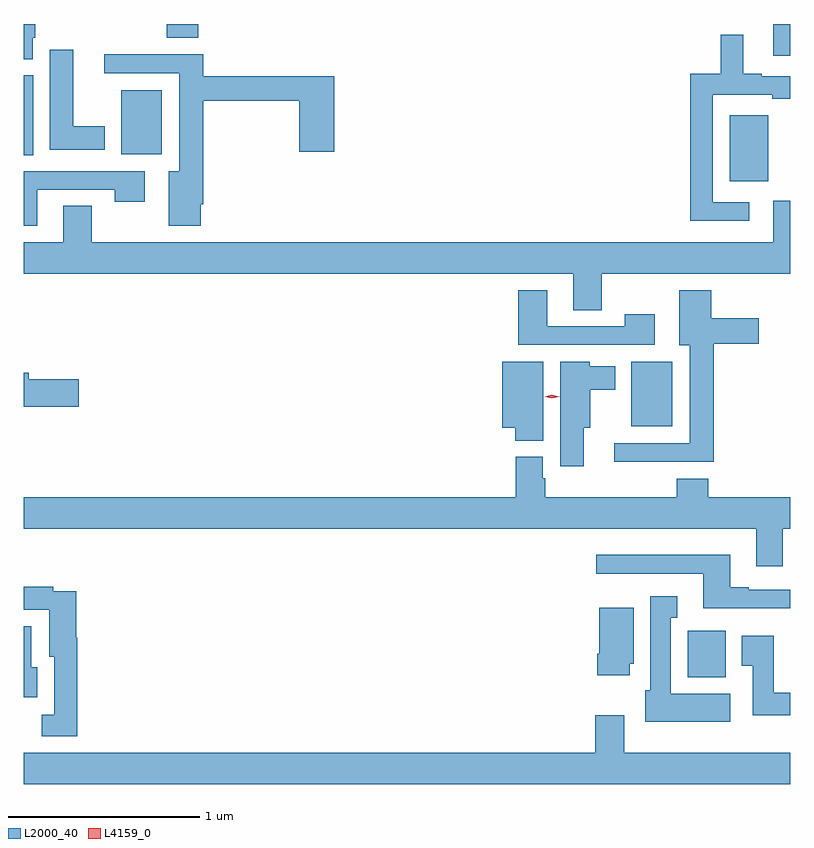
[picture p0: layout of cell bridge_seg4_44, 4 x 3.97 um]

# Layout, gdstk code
import gdstk
lib = gdstk.Library(unit=1e-6, precision=1e-09)
def R(c, l, rs):  # rectangles x0, y0, x1, y1
    for r in rs: c.add(gdstk.rectangle(r[:2], r[2:], *l))
def P(c, l, *ps):  # polygons
    for p in ps: c.add(gdstk.Polygon(p, *l))
L2000_40 = (2000, 40)
L4159_0 = (4159, 0)

bridge_seg4_44 = lib.new_cell('bridge_seg4_44')
R(bridge_seg4_44, L2000_40, [(677.738,761.414,677.935,761.656), (677.444,762.725,677.656,763.06), (677.957,764.003,678.157,764.347), (674.272,764.14,674.32,764.556), (674.78,764.144,674.992,764.479), (678.185,764.658,678.272,764.824), (675.017,764.753,675.182,764.824)])
P(bridge_seg4_44, L2000_40, [(674.317,764.751),(674.33,764.751),(674.33,764.824),(674.272,764.824),(674.272,764.641),(674.317,764.641)],
  [(678.058,763.893),(677.868,763.893),(677.868,764.454),(678.179,764.454),(678.179,764.434),(678.272,764.434),(678.272,764.55),(678.124,764.55),(678.124,764.563),(678.028,764.563),(678.028,764.767),(677.911,764.767),(677.911,764.563),(677.752,764.563),(677.752,763.797),(678.058,763.797)],
  [(674.695,764.29),(674.53,764.29),(674.53,764.689),(674.408,764.689),(674.408,764.168),(674.695,764.168)],
  [(675.196,763.882),(675.209,763.882),(675.209,764.422),(675.71,764.422),(675.71,764.157),(675.893,764.157),(675.893,764.551),(675.209,764.551),(675.209,764.666),(674.691,764.666),(674.691,764.568),(675.083,764.568),(675.083,764.056),(675.029,764.056),(675.029,763.77),(675.196,763.77)],
  [(674.341,763.959),(674.746,763.959),(674.746,763.896),(674.902,763.896),(674.902,764.055),(674.272,764.055),(674.272,763.77),(674.341,763.77)],
  [(677.289,763.52),(678.272,763.52),(678.272,763.9),(678.185,763.9),(678.185,763.684),(674.625,763.684),(674.625,763.874),(674.477,763.874),(674.477,763.684),(674.272,763.684),(674.272,763.52),(677.141,763.52),(677.141,763.33),(677.289,763.33)],
  [(677.566,763.309),(677.41,763.309),(677.41,763.245),(677.005,763.245),(677.005,763.435),(676.853,763.435),(676.853,763.149),(677.566,763.149)],
  [(677.873,763.154),(678.109,763.154),(678.109,763.288),(677.86,763.288),(677.86,763.435),(677.693,763.435),(677.693,763.148),(677.747,763.148),(677.747,762.636),(677.355,762.636),(677.355,762.539),(677.873,762.539)],
  [(676.984,763.06),(676.769,763.06),(676.769,762.716),(676.838,762.716),(676.838,762.649),(676.984,762.649)],
  [(677.194,762.716),(677.23,762.716),(677.23,762.914),(677.359,762.914),(677.359,763.036),(677.226,763.036),(677.226,763.06),(677.072,763.06),(677.072,762.516),(677.194,762.516)],
  [(674.557,762.968),(674.296,762.968),(674.296,763.004),(674.272,763.004),(674.272,762.826),(674.557,762.826)],
  [(678.235,762.188),(678.272,762.188),(678.272,762.352),(677.846,762.352),(677.846,762.451),(677.681,762.451),(677.681,762.352),(676.994,762.352),(676.994,762.453),(676.981,762.453),(676.981,762.564),(676.841,762.564),(676.841,762.352),(674.272,762.352),(674.272,762.188),(678.095,762.188),(678.095,761.994),(678.235,761.994)],
  [(678.272,761.871),(678.055,761.871),(678.055,761.884),(677.959,761.884),(677.959,762.052),(677.259,762.052),(677.259,761.955),(677.819,761.955),(677.819,761.774),(678.272,761.774)],
  [(674.551,761.62),(674.546,761.62),(674.546,761.862),(674.426,761.862),(674.426,761.887),(674.272,761.887),(674.272,761.766),(674.405,761.766),(674.405,761.52),(674.429,761.52),(674.429,761.218),(674.364,761.218),(674.364,761.105),(674.551,761.105)],
  [(677.959,761.326),(677.65,761.326),(677.65,761.723),(677.683,761.723),(677.683,761.836),(677.543,761.836),(677.543,761.346),(677.516,761.346),(677.516,761.18),(677.959,761.18)],
  [(677.434,761.484),(677.455,761.484),(677.455,761.776),(677.276,761.776),(677.276,761.536),(677.264,761.536),(677.264,761.424),(677.434,761.424)],
  [(674.341,761.466),(674.311,761.466),(674.311,761.68),(674.272,761.68),(674.272,761.31),(674.341,761.31)],
  [(678.272,761.332),(678.187,761.332),(678.187,761.629),(678.02,761.629),(678.02,761.473),(678.077,761.473),(678.077,761.214),(678.272,761.214)],
  [(678.272,761.02),(677.407,761.02),(677.407,761.215),(677.255,761.215),(677.255,761.02),(674.272,761.02),(674.272,760.856),(678.272,760.856)])
P(bridge_seg4_44, L4159_0, [(677.029,762.869),(676.991,762.879),(676.991,762.879),(676.991,762.879),(677.029,762.889),(677.067,762.879),(677.067,762.879),(677.067,762.879)])

lib.write_gds('bridge_seg4_44.gds')
